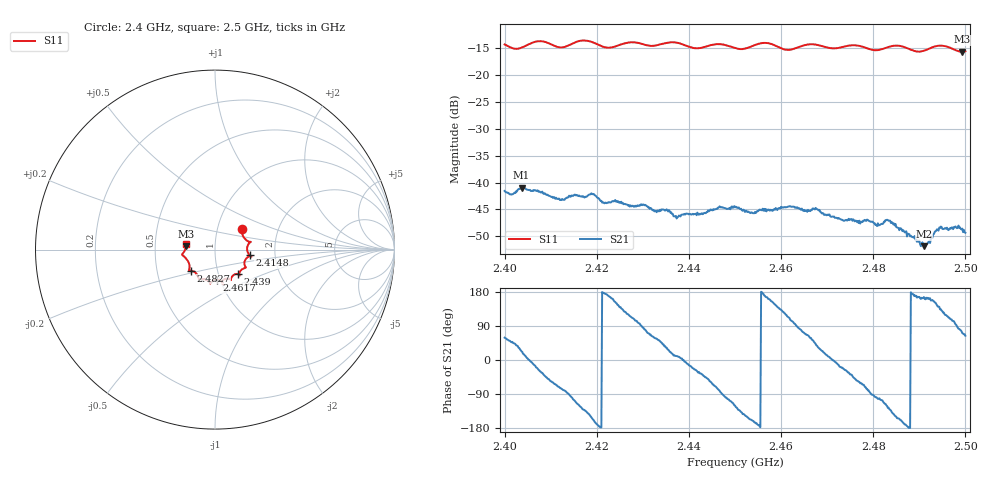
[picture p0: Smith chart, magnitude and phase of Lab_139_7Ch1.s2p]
# Hz S RI R 50
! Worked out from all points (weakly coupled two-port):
!   601 points, 2.4 GHz to 2.5 GHz, reference 50 ohm
!   highest |S21| = -40.95 dB at 2.4037 GHz (marker M1); lowest = -51.8 dB at 2.491 GHz (marker M2)
!   lowest |S11| = -15.7 dB at 2.4993 GHz (marker M3), VSWR 1.39, Z = 36 + j1.41 ohm
!   |S11| at or under -10 dB: start of sweep to end of sweep
!   S12 and S22 are empty: the file has one direction only
!   S11 on the Smith chart (normalised r, x): 2.4 GHz: 1.31, +0.32; 2.4148 GHz: 1.47, -0.10; 2.439 GHz: 1.24, -0.35; 2.4617 GHz: 0.96, -0.33; 2.4827 GHz: 0.75, -0.18; 2.5 GHz: 0.72, +0.05
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2.4e9  0.1514 0.1158  0.00431 0.00715  0 0  0 0
2.403667e9  0.1679 0.059  0.00825 0.00348  0 0  0 0
2.407667e9  0.1997 0.0434  0.00712 -0.00408  0 0  0 0
2.4125e9  0.1789 -0.000466  0.0016 -0.00685  0 0  0 0
2.414833e9  0.1922 -0.0313  -0.00172 -0.0073  0 0  0 0
2.416667e9  0.2028 -0.0395  -0.00432 -0.00607  0 0  0 0
2.419167e9  0.1958 -0.0366  -0.00719 -0.00307  0 0  0 0
2.422333e9  0.167 -0.0604  -0.00643 0.00102  0 0  0 0
2.433333e9  0.1367 -0.1301  0.00328 0.00433  0 0  0 0
2.439e9  0.1296 -0.1367  0.00511 -0.000344  0 0  0 0
2.45e9  0.0712 -0.1617  -0.00296 -0.00508  0 0  0 0
2.453667e9  0.0402 -0.1791  -0.00493 -0.00187  0 0  0 0
2.456667e9  0.0437 -0.192  -0.00552 0.00134  0 0  0 0
2.461667e9  0.00843 -0.1694  -0.00226 0.00554  0 0  0 0
2.466667e9  -0.0263 -0.1896  0.00329 0.00446  0 0  0 0
2.4735e9  -0.0755 -0.1647  0.00408 -0.00174  0 0  0 0
2.482667e9  -0.1321 -0.1175  -0.00196 -0.00403  0 0  0 0
2.483333e9  -0.1378 -0.1169  -0.00258 -0.00359  0 0  0 0
2.491e9  -0.1573 -0.0545  -0.00249 0.000614  0 0  0 0
2.494333e9  -0.1833 -0.0291  -0.00294 0.00245  0 0  0 0
2.499333e9  -0.1621 0.0191  0.00121 0.00353  0 0  0 0
2.5e9  -0.1616 0.031  0.0015 0.00307  0 0  0 0
